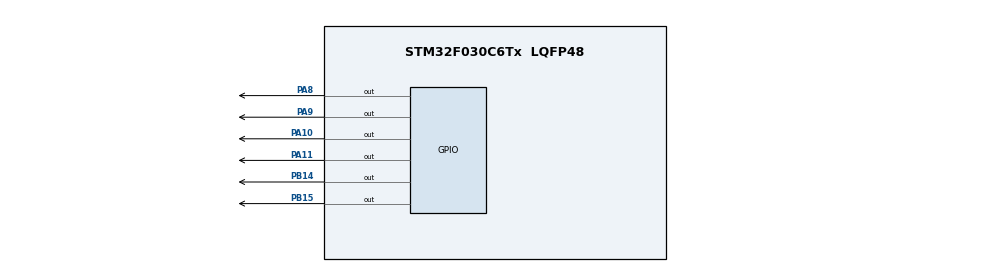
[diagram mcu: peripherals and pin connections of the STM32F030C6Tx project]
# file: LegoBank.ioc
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Mcu.Family=STM32F0
Mcu.Name=STM32F030C6Tx
Mcu.Package=LQFP48
NVIC.TIM14_IRQn=true\:0\:0\:false\:false\:true\:true\:true
PA10.Signal=GPIO_Output
PA11.Signal=GPIO_Output
PA13.Mode=Serial_Wire
PA13.Signal=SYS_SWDIO
PA14.Mode=Serial_Wire
PA14.Signal=SYS_SWCLK
PA8.Signal=GPIO_Output
PA9.Signal=GPIO_Output
PB14.Signal=GPIO_Output
PB15.Signal=GPIO_Output
ProjectManager.HeapSize=0x200
ProjectManager.StackSize=0x400
ProjectManager.TargetToolchain=STM32CubeIDE
TIM14.Period=31250
TIM14.Prescaler=256
VP_TIM14_VS_ClockSourceINT.Mode=Enable_Timer
board=custom

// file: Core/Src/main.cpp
/* USER CODE BEGIN Header */
/**
 ******************************************************************************
 * @file           : main.c
 * @brief          : Main program body
 ******************************************************************************
 * @attention
 *
 * <h2><center>&copy; Copyright (c) 2020 STMicroelectronics.
 * All rights reserved.</center></h2>
 *
 * This software component is licensed by ST under BSD 3-Clause license,
 * the "License"; You may not use this file except in compliance with the
 * License. You may obtain a copy of the License at:
 *                        opensource.org/licenses/BSD-3-Clause
 *
 ******************************************************************************
 */
/* USER CODE END Header */

#include "main.h"

/* USER CODE BEGIN Includes */

#include <UniversalModule.cpp>

/* USER CODE END Includes */

TIM_HandleTypeDef htim14;

void SystemClock_Config(void);
static void MX_GPIO_Init(void);
static void MX_TIM14_Init(void);

/* USER CODE BEGIN 0 */

AnimationSequence sequence;

#define WASSERETTE channel1
#define BUITENVERLICHTING channel2

/* USER CODE END 0 */

int main(void) {

	/* MCU Configuration--------------------------------------------------------*/

	/* Reset of all peripherals, Initializes the Flash interface and the Systick. */
	HAL_Init();

	/* Configure the system clock */
	SystemClock_Config();

	/* Initialize all configured peripherals */
	MX_GPIO_Init();
	MX_TIM14_Init();
	/* USER CODE BEGIN 2 */

	AnimationFrame wasseretteAan([] {WASSERETTE.turnOn();});
	AnimationFrame wasseretteUit([] {WASSERETTE.turnOff();});
	AnimationFrame buitenVerlichtingAan([] {BUITENVERLICHTING.turnOn();});

	sequence.addFrame(2, &wasseretteAan);
	sequence.addFrame(10, &wasseretteUit);
	sequence.addFrame(12, &wasseretteAan);
	sequence.addFrame(20, &wasseretteAan);

	sequence.addFrame(1, &buitenVerlichtingAan);

	sequence.start();

	/* USER CODE END 2 */

	/* Infinite loop */
	while (1) {

	}
}

void SystemClock_Config(void) {
	RCC_OscInitTypeDef RCC_OscInitStruct = { 0 };
	RCC_ClkInitTypeDef RCC_ClkInitStruct = { 0 };

	/** Initializes the CPU, AHB and APB busses clocks
	 */
	RCC_OscInitStruct.OscillatorType = RCC_OSCILLATORTYPE_HSI;
	RCC_OscInitStruct.HSIState = RCC_HSI_ON;
	RCC_OscInitStruct.HSICalibrationValue = RCC_HSICALIBRATION_DEFAULT;
	RCC_OscInitStruct.PLL.PLLState = RCC_PLL_NONE;
	if (HAL_RCC_OscConfig(&RCC_OscInitStruct) != HAL_OK) {
		Error_Handler();
	}
	/** Initializes the CPU, AHB and APB busses clocks
	 */
	RCC_ClkInitStruct.ClockType = RCC_CLOCKTYPE_HCLK | RCC_CLOCKTYPE_SYSCLK
			| RCC_CLOCKTYPE_PCLK1;
	RCC_ClkInitStruct.SYSCLKSource = RCC_SYSCLKSOURCE_HSI;
	RCC_ClkInitStruct.AHBCLKDivider = RCC_SYSCLK_DIV1;
	RCC_ClkInitStruct.APB1CLKDivider = RCC_HCLK_DIV1;

	if (HAL_RCC_ClockConfig(&RCC_ClkInitStruct, FLASH_LATENCY_0) != HAL_OK) {
		Error_Handler();
	}
}

static void MX_TIM14_Init(void) {

	htim14.Instance = TIM14;
	htim14.Init.Prescaler = 256;
	htim14.Init.CounterMode = TIM_COUNTERMODE_UP;
	htim14.Init.Period = 31250;
	htim14.Init.ClockDivision = TIM_CLOCKDIVISION_DIV1;
	htim14.Init.AutoReloadPreload = TIM_AUTORELOAD_PRELOAD_ENABLE;
	if (HAL_TIM_Base_Init(&htim14) != HAL_OK) {
		Error_Handler();
	}
	/* USER CODE BEGIN TIM14_Init 2 */

	HAL_TIM_Base_Start_IT(&htim14);

	/* USER CODE END TIM14_Init 2 */

}

static void MX_GPIO_Init(void) {
	GPIO_InitTypeDef GPIO_InitStruct = { 0 };

	/* GPIO Ports Clock Enable */
	__HAL_RCC_GPIOB_CLK_ENABLE();
	__HAL_RCC_GPIOA_CLK_ENABLE();

	/*Configure GPIO pin Output Level */
	HAL_GPIO_WritePin(GPIOB, GPIO_PIN_14 | GPIO_PIN_15, GPIO_PIN_RESET);

	/*Configure GPIO pin Output Level */
	HAL_GPIO_WritePin(GPIOA,
	GPIO_PIN_8 | GPIO_PIN_9 | GPIO_PIN_10 | GPIO_PIN_11, GPIO_PIN_RESET);

	/*Configure GPIO pins : PB14 PB15 */
	GPIO_InitStruct.Pin = GPIO_PIN_14 | GPIO_PIN_15;
	GPIO_InitStruct.Mode = GPIO_MODE_OUTPUT_PP;
	GPIO_InitStruct.Pull = GPIO_NOPULL;
	GPIO_InitStruct.Speed = GPIO_SPEED_FREQ_LOW;
	HAL_GPIO_Init(GPIOB, &GPIO_InitStruct);

	/*Configure GPIO pins : PA8 PA9 PA10 PA11 */
	GPIO_InitStruct.Pin = GPIO_PIN_8 | GPIO_PIN_9 | GPIO_PIN_10 | GPIO_PIN_11;
	GPIO_InitStruct.Mode = GPIO_MODE_OUTPUT_PP;
	GPIO_InitStruct.Pull = GPIO_NOPULL;
	GPIO_InitStruct.Speed = GPIO_SPEED_FREQ_LOW;
	HAL_GPIO_Init(GPIOA, &GPIO_InitStruct);

}

/* USER CODE BEGIN 4 */

void TIM14_IRQHandler(void) {
	HAL_TIM_IRQHandler(&htim14);
}

void HAL_TIM_PeriodElapsedCallback(TIM_HandleTypeDef *htim) {
	sequence.tick();
}

/* USER CODE END 4 */

void Error_Handler(void) {
}

/************************ (C) COPYRIGHT STMicroelectronics *****END OF FILE****/
